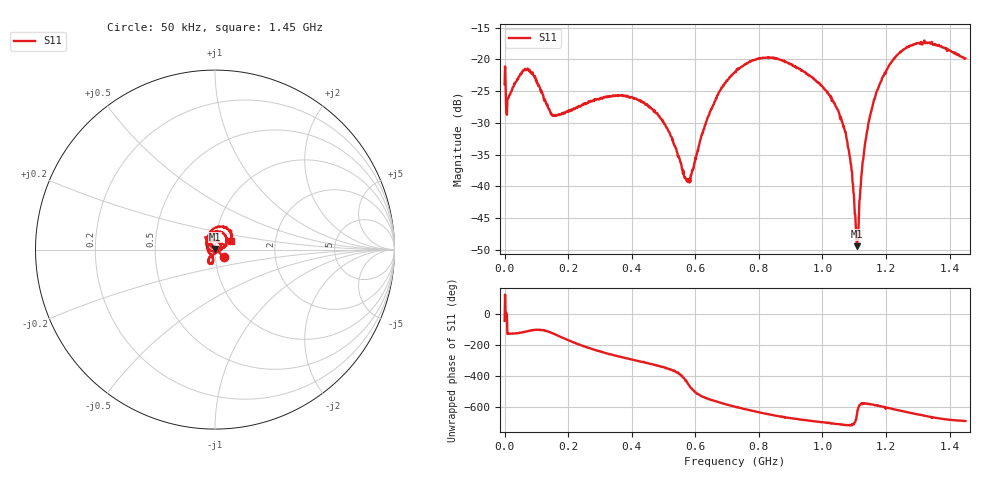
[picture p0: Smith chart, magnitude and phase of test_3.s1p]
! Created with skrf 1.11.0 (http://scikit-rf.org).
# Hz S RI R 50.0
!freq ReS11 ImS11
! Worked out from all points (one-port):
!   1001 points, 50 kHz to 1.45 GHz, reference 50 ohm
!   lowest |S11| = -49.5 dB at 1.109 GHz (marker M1), VSWR 1.01, Z = 50.1 + j0.328 ohm
!   |S11| at or under -10 dB: start of sweep to end of sweep
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50000  0.0478 -0.0423
1.16496e7  -0.0295 -0.0403
4.64484e7  -0.0363 -0.0645
7.25475e7  -0.0266 -0.0806
1.493948e8  -0.0188 -0.0309
1.812938e8  -0.0324 -0.0182
3.625375e8  0.00395 0.0519
4.741836e8  0.0328 0.0202
5.437812e8  0.0175 -0.00515
5.655305e8  0.00641 -0.00994
5.8003e8  -0.00143 -0.0107
6.452778e8  -0.0377 0.00691
7.25025e8  -0.0413 0.0683
8.149219e8  0.0195 0.1013
9.062688e8  0.0629 0.0652
1.030964e9  0.047 0.0115
1.067213e9  0.0297 0.00217
1.087512e9  0.0165 0.000523
1.104912e9  0.00391 0.00295
1.109262e9  0.000781 0.00328
1.113612e9  -0.00214 0.00415
1.123761e9  -0.00963 0.00844
1.132461e9  -0.0159 0.0121
1.16291e9  -0.0332 0.0355
1.212208e9  -0.0323 0.0859
1.268756e9  0.0106 0.1242
1.338354e9  0.0749 0.1133
1.45e9  0.0891 0.0493
